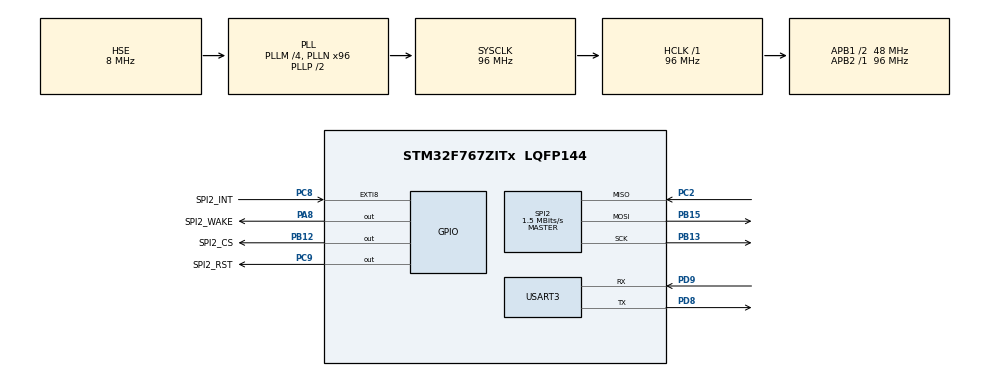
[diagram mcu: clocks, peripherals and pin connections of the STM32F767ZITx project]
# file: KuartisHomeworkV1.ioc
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CORTEX_M7.default_mode_Activation=1
Dma.Request0=SPI2_RX
Dma.Request1=SPI2_TX
Dma.Request2=USART3_TX
Dma.SPI2_RX.0.Direction=DMA_PERIPH_TO_MEMORY
Dma.SPI2_RX.0.FIFOMode=DMA_FIFOMODE_DISABLE
Dma.SPI2_RX.0.Instance=DMA1_Stream1
Dma.SPI2_RX.0.MemDataAlignment=DMA_MDATAALIGN_BYTE
Dma.SPI2_RX.0.MemInc=DMA_MINC_ENABLE
Dma.SPI2_RX.0.Mode=DMA_NORMAL
Dma.SPI2_RX.0.PeriphDataAlignment=DMA_PDATAALIGN_BYTE
Dma.SPI2_RX.0.PeriphInc=DMA_PINC_DISABLE
Dma.SPI2_RX.0.Priority=DMA_PRIORITY_HIGH
Dma.SPI2_TX.1.Direction=DMA_MEMORY_TO_PERIPH
Dma.SPI2_TX.1.FIFOMode=DMA_FIFOMODE_DISABLE
Dma.SPI2_TX.1.Instance=DMA1_Stream4
Dma.SPI2_TX.1.MemDataAlignment=DMA_MDATAALIGN_BYTE
Dma.SPI2_TX.1.MemInc=DMA_MINC_ENABLE
Dma.SPI2_TX.1.Mode=DMA_NORMAL
Dma.SPI2_TX.1.PeriphDataAlignment=DMA_PDATAALIGN_BYTE
Dma.SPI2_TX.1.PeriphInc=DMA_PINC_DISABLE
Dma.SPI2_TX.1.Priority=DMA_PRIORITY_HIGH
Dma.USART3_TX.2.Direction=DMA_MEMORY_TO_PERIPH
Dma.USART3_TX.2.FIFOMode=DMA_FIFOMODE_DISABLE
Dma.USART3_TX.2.Instance=DMA1_Stream3
Dma.USART3_TX.2.MemDataAlignment=DMA_MDATAALIGN_BYTE
Dma.USART3_TX.2.MemInc=DMA_MINC_ENABLE
Dma.USART3_TX.2.Mode=DMA_NORMAL
Dma.USART3_TX.2.PeriphDataAlignment=DMA_PDATAALIGN_BYTE
Dma.USART3_TX.2.PeriphInc=DMA_PINC_DISABLE
Dma.USART3_TX.2.Priority=DMA_PRIORITY_LOW
FREERTOS.Tasks01=Bno085Task,32,512,StartBno085Task,Default,NULL,Dynamic,NULL,NULL;TelemetryTask,24,512,StartTelemetryTask,Default,NULL,Dynamic,NULL,NULL;UartTxTask,24,256,StartUartTxTask,Default,NULL,Dynamic,NULL,NULL
FREERTOS.configCHECK_FOR_STACK_OVERFLOW=2
FREERTOS.configTOTAL_HEAP_SIZE=32768
FREERTOS.configUSE_MALLOC_FAILED_HOOK=1
FREERTOS.configUSE_NEWLIB_REENTRANT=1
Mcu.Family=STM32F7
Mcu.Name=STM32F767ZITx
Mcu.Package=LQFP144
NVIC.DMA1_Stream1_IRQn=true\:6\:0\:true\:false\:true\:true\:false\:true\:true
NVIC.DMA1_Stream3_IRQn=true\:7\:0\:true\:false\:true\:true\:false\:true\:true
NVIC.DMA1_Stream4_IRQn=true\:6\:0\:true\:false\:true\:true\:false\:true\:true
NVIC.EXTI9_5_IRQn=true\:5\:0\:true\:false\:true\:true\:true\:true\:true
NVIC.PriorityGroup=NVIC_PRIORITYGROUP_4
NVIC.SPI2_IRQn=true\:6\:0\:true\:false\:true\:true\:true\:true\:true
NVIC.TIM6_DAC_IRQn=true\:15\:0\:false\:false\:true\:false\:false\:true\:true
NVIC.TimeBase=TIM6_DAC_IRQn
NVIC.TimeBaseIP=TIM6
NVIC.USART3_IRQn=true\:7\:0\:true\:false\:true\:true\:true\:true\:true
PA13.Mode=Serial_Wire
PA13.Signal=SYS_JTMS-SWDIO
PA14.Mode=Serial_Wire
PA14.Signal=SYS_JTCK-SWCLK
PA8.GPIO_Label=SPI2_WAKE
PA8.PinState=GPIO_PIN_SET
PA8.Signal=GPIO_Output
PB12.GPIO_Label=SPI2_CS
PB12.PinState=GPIO_PIN_SET
PB12.Signal=GPIO_Output
PB13.Mode=Full_Duplex_Master
PB13.Signal=SPI2_SCK
PB15.Mode=Full_Duplex_Master
PB15.Signal=SPI2_MOSI
PC2.Mode=Full_Duplex_Master
PC2.Signal=SPI2_MISO
PC8.GPIO_Label=SPI2_INT
PC8.GPIO_ModeDefaultEXTI=GPIO_MODE_IT_FALLING
PC8.Signal=GPXTI8
PC9.GPIO_Label=SPI2_RST
PC9.PinState=GPIO_PIN_SET
PC9.Signal=GPIO_Output
PD8.Mode=Asynchronous
PD8.Signal=USART3_TX
PD9.Mode=Asynchronous
PD9.Signal=USART3_RX
PH0/OSC_IN.Mode=HSE-External-Clock-Source
PH0/OSC_IN.Signal=RCC_OSC_IN
PH1/OSC_OUT.Mode=HSE-External-Clock-Source
PH1/OSC_OUT.Signal=RCC_OSC_OUT
ProjectManager.HeapSize=0x200
ProjectManager.StackSize=0x400
ProjectManager.TargetToolchain=STM32CubeIDE
RCC.48MHZClocksFreq_Value=24000000
RCC.AHBFreq_Value=96000000
RCC.APB1CLKDivider=RCC_HCLK_DIV2
RCC.APB1Freq_Value=48000000
RCC.APB1TimFreq_Value=96000000
RCC.APB2Freq_Value=96000000
RCC.APB2TimFreq_Value=96000000
RCC.CortexFreq_Value=96000000
RCC.HCLKFreq_Value=96000000
RCC.HSE_VALUE=8000000
RCC.HSI_VALUE=16000000
RCC.LSE_VALUE=32768
RCC.PLLM=4
RCC.PLLMUL=RCC_PLL_MUL9
RCC.PLLN=96
RCC.PLLQ=4
RCC.PLLSourceVirtual=RCC_PLLSOURCE_HSE
RCC.PRESCALERUSB=RCC_USBCLKSOURCE_PLL_DIV1_5
RCC.SYSCLKFreq_VALUE=96000000
RCC.SYSCLKSource=RCC_SYSCLKSOURCE_PLLCLK
RCC.SYSCLKSourceVirtual=RCC_SYSCLKSOURCE_PLLCLK
RCC.USBFreq_Value=48000000
RCC.VCOOutputFreq_Value=192000000
SPI2.BaudRatePrescaler=SPI_BAUDRATEPRESCALER_32
SPI2.CLKPhase=SPI_PHASE_2EDGE
SPI2.CLKPolarity=SPI_POLARITY_HIGH
SPI2.CalculateBaudRate=1.5 MBits/s
SPI2.DataSize=SPI_DATASIZE_8BIT
SPI2.Direction=SPI_DIRECTION_2LINES
SPI2.Mode=SPI_MODE_MASTER
SPI2.VirtualType=VM_MASTER
TIM2.ClockDivision=TIM_CLOCKDIVISION_DIV1
TIM2.Prescaler=95
USART3.VirtualMode-Asynchronous=VM_ASYNC
VP_FREERTOS_VS_CMSIS_V2.Mode=CMSIS_V2
VP_SYS_VS_tim6.Mode=TIM6
VP_TIM2_VS_ClockSourceINT.Mode=Internal
board=NUCLEO-F767ZI

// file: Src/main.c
/* USER CODE BEGIN Header */
/**
  ******************************************************************************
  * @file           : main.c
  * @brief          : Main program body
  ******************************************************************************
  * @attention
  *
  * Copyright (c) 2026 STMicroelectronics.
  * All rights reserved.
  *
  * This software is licensed under terms that can be found in the LICENSE file
  * in the root directory of this software component.
  * If no LICENSE file comes with this software, it is provided AS-IS.
  *
  ******************************************************************************
  */
/* USER CODE END Header */
#include "main.h"
#include "cmsis_os.h"
#include "dma.h"
#include "spi.h"
#include "tim.h"
#include "usart.h"
#include "gpio.h"

/* USER CODE BEGIN Includes */
#include "timestamp.h"
/* USER CODE END Includes */

void SystemClock_Config(void);
static void MPU_Config(void);
void MX_FREERTOS_Init(void);

int main(void)
{

  /* MPU Configuration--------------------------------------------------------*/
  MPU_Config();

  /* MCU Configuration--------------------------------------------------------*/

  /* Reset of all peripherals, Initializes the Flash interface and the Systick. */
  HAL_Init();

  /* Configure the system clock */
  SystemClock_Config();

  /* Initialize all configured peripherals */
  MX_GPIO_Init();
  MX_DMA_Init();
  MX_SPI2_Init();
  MX_USART3_UART_Init();
  MX_TIM2_Init();
  /* USER CODE BEGIN 2 */

  if (Timestamp_Init() != TIMESTAMP_STATUS_OK)
  {
      Error_Handler();
  }
  /* USER CODE END 2 */

  /* Init scheduler */
  osKernelInitialize();  /* Call init function for freertos objects (in cmsis_os2.c) */
  MX_FREERTOS_Init();

  /* Start scheduler */
  osKernelStart();

  /* We should never get here as control is now taken by the scheduler */

  /* Infinite loop */
  while (1)
  {

  }
}

void SystemClock_Config(void)
{
  RCC_OscInitTypeDef RCC_OscInitStruct = {0};
  RCC_ClkInitTypeDef RCC_ClkInitStruct = {0};

  /** Configure the main internal regulator output voltage
  */
  __HAL_RCC_PWR_CLK_ENABLE();
  __HAL_PWR_VOLTAGESCALING_CONFIG(PWR_REGULATOR_VOLTAGE_SCALE3);

  /** Initializes the RCC Oscillators according to the specified parameters
  * in the RCC_OscInitTypeDef structure.
  */
  RCC_OscInitStruct.OscillatorType = RCC_OSCILLATORTYPE_HSE;
  RCC_OscInitStruct.HSEState = RCC_HSE_BYPASS;
  RCC_OscInitStruct.PLL.PLLState = RCC_PLL_ON;
  RCC_OscInitStruct.PLL.PLLSource = RCC_PLLSOURCE_HSE;
  RCC_OscInitStruct.PLL.PLLM = 4;
  RCC_OscInitStruct.PLL.PLLN = 96;
  RCC_OscInitStruct.PLL.PLLP = RCC_PLLP_DIV2;
  RCC_OscInitStruct.PLL.PLLQ = 4;
  RCC_OscInitStruct.PLL.PLLR = 2;
  if (HAL_RCC_OscConfig(&RCC_OscInitStruct) != HAL_OK)
  {
    Error_Handler();
  }

  /** Activate the Over-Drive mode
  */
  if (HAL_PWREx_EnableOverDrive() != HAL_OK)
  {
    Error_Handler();
  }

  /** Initializes the CPU, AHB and APB buses clocks
  */
  RCC_ClkInitStruct.ClockType = RCC_CLOCKTYPE_HCLK|RCC_CLOCKTYPE_SYSCLK
                              |RCC_CLOCKTYPE_PCLK1|RCC_CLOCKTYPE_PCLK2;
  RCC_ClkInitStruct.SYSCLKSource = RCC_SYSCLKSOURCE_PLLCLK;
  RCC_ClkInitStruct.AHBCLKDivider = RCC_SYSCLK_DIV1;
  RCC_ClkInitStruct.APB1CLKDivider = RCC_HCLK_DIV2;
  RCC_ClkInitStruct.APB2CLKDivider = RCC_HCLK_DIV1;

  if (HAL_RCC_ClockConfig(&RCC_ClkInitStruct, FLASH_LATENCY_3) != HAL_OK)
  {
    Error_Handler();
  }
}

 /* MPU Configuration */

void MPU_Config(void)
{
  MPU_Region_InitTypeDef MPU_InitStruct = {0};

  /* Disables the MPU */
  HAL_MPU_Disable();

  /** Initializes and configures the Region and the memory to be protected
  */
  MPU_InitStruct.Enable = MPU_REGION_ENABLE;
  MPU_InitStruct.Number = MPU_REGION_NUMBER0;
  MPU_InitStruct.BaseAddress = 0x0;
  MPU_InitStruct.Size = MPU_REGION_SIZE_4GB;
  MPU_InitStruct.SubRegionDisable = 0x87;
  MPU_InitStruct.TypeExtField = MPU_TEX_LEVEL0;
  MPU_InitStruct.AccessPermission = MPU_REGION_NO_ACCESS;
  MPU_InitStruct.DisableExec = MPU_INSTRUCTION_ACCESS_DISABLE;
  MPU_InitStruct.IsShareable = MPU_ACCESS_SHAREABLE;
  MPU_InitStruct.IsCacheable = MPU_ACCESS_NOT_CACHEABLE;
  MPU_InitStruct.IsBufferable = MPU_ACCESS_NOT_BUFFERABLE;

  HAL_MPU_ConfigRegion(&MPU_InitStruct);
  /* Enables the MPU */
  HAL_MPU_Enable(MPU_PRIVILEGED_DEFAULT);

}

void HAL_TIM_PeriodElapsedCallback(TIM_HandleTypeDef *htim)
{
  if (htim->Instance == TIM6)
  {
    HAL_IncTick();
  }
}

void Error_Handler(void)
{
  __disable_irq();
  while (1)
  {
  }
}

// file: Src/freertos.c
/* USER CODE BEGIN Header */
/**
  ******************************************************************************
  * File Name          : freertos.c
  * Description        : Code for freertos applications
  ******************************************************************************
  * @attention
  *
  * Copyright (c) 2026 STMicroelectronics.
  * All rights reserved.
  *
  * This software is licensed under terms that can be found in the LICENSE file
  * in the root directory of this software component.
  * If no LICENSE file comes with this software, it is provided AS-IS.
  *
  ******************************************************************************
  */
/* USER CODE END Header */

#include "FreeRTOS.h"
#include "task.h"
#include "main.h"
#include "cmsis_os.h"

/* USER CODE BEGIN Includes */
#include "app_types.h"
#include "queue.h"
#include "timestamp.h"
#include "bno085.h"
#include "orientation_math.h"
#include "nmea.h"
#include "telemetry_protocol.h"
#include "debug_port.h"
#include "performance_monitor.h"
/* USER CODE END Includes */

/* USER CODE BEGIN Variables */
QueueHandle_t orientationQueueHandle = NULL;
QueueHandle_t txQueueHandle = NULL;
static volatile uint8_t bno085TaskNotificationEnabled = 0U;

static TxRingBuffer_t uartTxRingBuffer = {0};

static uint32_t uartTxRingFullCount = 0U;
static uint32_t uartTxDmaErrorCount = 0U;

static uint32_t txQueueDropCount = 0U;

static uint32_t nmeaFormatErrorCount = 0U;
static uint32_t quaternionFormatErrorCount = 0U;

static uint32_t staleSampleCount = 0U;

/* USER CODE END Variables */
/* Definitions for Bno085Task */
osThreadId_t Bno085TaskHandle;
const osThreadAttr_t Bno085Task_attributes = {
  .name = "Bno085Task",
  .stack_size = 512 * 4,
  .priority = (osPriority_t) osPriorityAboveNormal,
};
/* Definitions for TelemetryTask */
osThreadId_t TelemetryTaskHandle;
const osThreadAttr_t TelemetryTask_attributes = {
  .name = "TelemetryTask",
  .stack_size = 512 * 4,
  .priority = (osPriority_t) osPriorityNormal,
};
/* Definitions for UartTxTask */
osThreadId_t UartTxTaskHandle;
const osThreadAttr_t UartTxTask_attributes = {
  .name = "UartTxTask",
  .stack_size = 256 * 4,
  .priority = (osPriority_t) osPriorityNormal,
};

void StartBno085Task(void *argument);
void StartTelemetryTask(void *argument);
void StartUartTxTask(void *argument);

void MX_FREERTOS_Init(void); /* (MISRA C 2004 rule 8.1) */

/* Hook prototypes */
void vApplicationStackOverflowHook(xTaskHandle xTask, signed char *pcTaskName);
void vApplicationMallocFailedHook(void);

/* USER CODE BEGIN 4 */
void vApplicationStackOverflowHook(xTaskHandle xTask, signed char *pcTaskName)
{
   /* Run time stack overflow checking is performed if
   configCHECK_FOR_STACK_OVERFLOW is defined to 1 or 2. This hook function is
   called if a stack overflow is detected. */
}
/* USER CODE END 4 */

/* USER CODE BEGIN 5 */
void vApplicationMallocFailedHook(void)
{
   /* vApplicationMallocFailedHook() will only be called if
   configUSE_MALLOC_FAILED_HOOK is set to 1 in FreeRTOSConfig.h. It is a hook
   function that will get called if a call to pvPortMalloc() fails.
   pvPortMalloc() is called internally by the kernel whenever a task, queue,
   timer or semaphore is created. It is also called by various parts of the
   demo application. If heap_1.c or heap_2.c are used, then the size of the
   heap available to pvPortMalloc() is defined by configTOTAL_HEAP_SIZE in
   FreeRTOSConfig.h, and the xPortGetFreeHeapSize() API function can be used
   to query the size of free heap space that remains (although it does not
   provide information on how the remaining heap might be fragmented). */
}
/* USER CODE END 5 */

void MX_FREERTOS_Init(void) {

  /* USER CODE BEGIN RTOS_QUEUES */
  /* add queues, ... */
	orientationQueueHandle = xQueueCreate(1U,sizeof(OrientationSample_t));
	txQueueHandle = xQueueCreate(8U,sizeof(UartMessage_t));

	if((orientationQueueHandle == NULL) || (txQueueHandle == NULL) )
	{
		Error_Handler();
	}
  /* USER CODE END RTOS_QUEUES */

  /* Create the thread(s) */
  /* creation of Bno085Task */
  Bno085TaskHandle = osThreadNew(StartBno085Task, NULL, &Bno085Task_attributes);

  /* creation of TelemetryTask */
  TelemetryTaskHandle = osThreadNew(StartTelemetryTask, NULL, &TelemetryTask_attributes);

  /* creation of UartTxTask */
  UartTxTaskHandle = osThreadNew(StartUartTxTask, NULL, &UartTxTask_attributes);

}

void StartBno085Task(void *argument)
{
  /* USER CODE BEGIN StartBno085Task */

  BNO085_Status_t status;

  BNO085_Quaternion_t quaternion;

  OrientationSample_t sample = {0};

  uint32_t sequence = 0U;
  float heading_deg;

  /*
   * Do not send task notifications while the sensor
   * is being initialized.
   */
  bno085TaskNotificationEnabled = 0U;

  /*
   * Sensor initialization.
   *
   * If the sensor is not available, retry every second.
   */
  for (;;)
  {
    status = BN085_Init();

    if (status == BNO085_STATUS_OK)
    {
      break;
    }

    vTaskDelay(pdMS_TO_TICKS(1000U));
  }

  /*
   * Request Rotation Vector reports at 100 Hz.
   *
   * This only queues the SHTP command inside the driver.
   * BNO085_Process() will actually start the SPI transfer.
   */
  status = BNO085_EnableRotationVector(
      BNO085_ROTATION_VECTOR_INTERVAL_US
  );

  if (status != BNO085_STATUS_OK)
  {
    /* Error handling will be improved later. */
    Error_Handler();
  }

  /*
   * Clear any notifications that may have accumulated
   * during initialization.
   */
  (void)ulTaskNotifyTake(pdTRUE, 0U);

  /*
   * ISR -> task notification mechanism is now active.
   */
  bno085TaskNotificationEnabled = 1U;

  /*
   * Kick the state machine once.
   *
   * EnableRotationVector() only sets tx_pending.
   * This call starts the actual command transmission
   * or starts the WAKE/ready procedure.
   */
  BNO085_Process();

  for (;;)
  {
    /*
     * Normally the task wakes up because:
     *
     * - BNO085 INT falling edge
     * - SPI RX DMA complete
     * - SPI TX DMA complete
     *
     * 20 ms timeout is only a recovery/safety mechanism.
     *
     * Sensor period = 10 ms (100 Hz)
     */
    (void)ulTaskNotifyTake(
        pdTRUE,
        pdMS_TO_TICKS(20U)
    );

    /*
     * Service the state machine.
     *
     * Two calls are intentional.
     *
     * Example:
     *
     * Call #1:
     *   DMA header completed
     *   -> parse header
     *   -> state = WAIT_PACKET
     *
     * Call #2:
     *   -> start packet DMA immediately
     *
     * This avoids waiting another 10/20 ms for a state
     * transition that can already be performed.
     */
    BNO085_Process();
    BNO085_Process();

    /*
     * If a complete Rotation Vector report has been parsed,
     * obtain the latest quaternion.
     */
    status = BNO085_GetQuaternion(&quaternion);

    if (status == BNO085_STATUS_OK)
    {

    if (Orientation_QuaternionToHeadingDeg(
   	        quaternion.x,
   	        quaternion.y,
   	        quaternion.z,
   	        quaternion.w,
   	        &heading_deg) != ORIENTATION_STATUS_OK)
   	{
    	continue;
    }

      /*
       * All fields belong to the same BNO085 sample.
       */
      sample.qx = quaternion.x;
      sample.qy = quaternion.y;
      sample.qz = quaternion.z;
      sample.qw = quaternion.w;

      sample.heading_deg = heading_deg;

      sample.timestamp_us = Timestamp_GetUs();
      sample.sequence = sequence++;
      sample.accuracy = (uint8_t)quaternion.accuracy;

      /*
       * Queue length = 1.
       *
       * We always want the most recent orientation.
       */
      (void)xQueueOverwrite(
          orientationQueueHandle,
          &sample
      );
    }
  }

  /* USER CODE END StartBno085Task */
}
void StartTelemetryTask(void *argument)
{
  /* USER CODE BEGIN StartTelemetryTask */

  OrientationSample_t sample;
  UartMessage_t nmea_message;
  UartMessage_t quaternion_message;

  TickType_t last_wake_time;
  const TickType_t period_ticks = pdMS_TO_TICKS(100U);

  uint32_t last_sequence = 0U;
  uint8_t first_sample_received = 0U;

  PerformanceStats_t performance_stats;
  uint32_t telemetry_timestamp_us;
  uint32_t sample_age_us;

  UBaseType_t bno_stack_min;
  UBaseType_t telemetry_stack_min;
  UBaseType_t uart_stack_min;

  size_t free_heap;
  size_t min_ever_free_heap;

  last_wake_time = xTaskGetTickCount();

  PerformanceMonitor_Init();
  for (;;)
  {
    /*
     * Run at a fixed 10 Hz rate.
     *
     * 100 ms period = 10 Hz
     */
    vTaskDelayUntil(
        &last_wake_time,
        period_ticks
    );

    /*
     * orientationQueue length = 1.
     *
     * Peek instead of Receive because we want to keep
     * the latest sample available in the queue.
     */
    if (xQueuePeek(
            orientationQueueHandle,
            &sample,
            0U) != pdPASS)
    {
      /*
       * No orientation sample has been received yet.
       */
      continue;
    }

    telemetry_timestamp_us = Timestamp_GetUs();

    PerformanceMonitor_Update(telemetry_timestamp_us);

    sample_age_us =
        telemetry_timestamp_us - sample.timestamp_us;

    PerformanceMonitor_UpdateSampleAge(sample_age_us);

    if (NMEA_FormatHCHDM(
            sample.heading_deg,
            nmea_message.data,
            UART_MESSAGE_MAX_LENGTH,
            &nmea_message.length) == NMEA_STATUS_OK)
    {
        if (xQueueSend(
                txQueueHandle,
                &nmea_message,
                0U) != pdPASS)
        {
            txQueueDropCount++;
        }
    }
    else
    {
        nmeaFormatErrorCount++;
    }

    if (Telemetry_FormatQuaternion(
            &sample,
            quaternion_message.data,
            UART_MESSAGE_MAX_LENGTH,
            &quaternion_message.length) == TELEMETRY_STATUS_OK)
    {
        if (xQueueSend(
                txQueueHandle,
                &quaternion_message,
                0U) != pdPASS)
        {
            txQueueDropCount++;
        }
    }
    else
    {
        quaternionFormatErrorCount++;
    }
    /*
     * Detect whether the BNO085 produced a new sample
     * since the previous telemetry cycle.
     */
    if (first_sample_received == 0U)
    {
      first_sample_received = 1U;
      last_sequence = sample.sequence;
    }
    else
    {
    	if (sample.sequence == last_sequence)
    	{
    	    staleSampleCount++;
    	}
    	else
    	{
    	    last_sequence = sample.sequence;
    	}
    }

    /*
     * Next step:
     *
     * 1) Generate $HCHDM NMEA sentence
     * 2) Generate quaternion telemetry packet
     * 3) Send both to txQueue
     */

    PerformanceMonitor_GetStats(
        &performance_stats
    );

    bno_stack_min =
        uxTaskGetStackHighWaterMark(
            (TaskHandle_t)Bno085TaskHandle
        );

    telemetry_stack_min =
        uxTaskGetStackHighWaterMark(
            (TaskHandle_t)TelemetryTaskHandle
        );

    uart_stack_min =
        uxTaskGetStackHighWaterMark(
            (TaskHandle_t)UartTxTaskHandle
        );

    free_heap = xPortGetFreeHeapSize();

    min_ever_free_heap =
        xPortGetMinimumEverFreeHeapSize();
  }

  /* USER CODE END StartTelemetryTask */
}

void StartUartTxTask(void *argument)
{
  /* USER CODE BEGIN StartUartTxTask */

  UartMessage_t tx_message;

  BufferStatus_t buffer_status;
  DebugStatus_t debug_status;

  for (;;)
  {
    /*
     * No polling.
     *
     * Sleep until TelemetryTask puts a message
     * into txQueue.
     */
    if (xQueueReceive(
            txQueueHandle,
            &tx_message,
            portMAX_DELAY) != pdPASS)
    {
      continue;
    }

    /*
     * Basic message validation.
     */
    if ((tx_message.length == 0U) ||
        (tx_message.length > UART_MESSAGE_MAX_LENGTH))
    {
      continue;
    }

    /*
     * Only UartTxTask writes to the TX ring buffer.
     *
     * This avoids multiple-producer race conditions
     * and removes the need for a mutex.
     */
    buffer_status = RingBufferWrite(
        &uartTxRingBuffer,
        tx_message.data,
        tx_message.length
    );

    if (buffer_status != BUFFER_STATUS_OK)
    {
      /*
       * Ring buffer did not have enough free space.
       *
       * For now drop the complete message.
       * Diagnostics will expose this counter later.
       */
      uartTxRingFullCount++;

      continue;
    }

    /*
     * Start DMA if it is currently idle.
     *
     * If DMA is already BUSY, this is not an error:
     * HAL_UART_TxCpltCallback() will automatically
     * continue transmitting the data that we just
     * appended to the ring buffer.
     */
    debug_status = DebugSend_DMA(
        &uartTxRingBuffer
    );

    if (debug_status == DEBUG_STATUS_ERROR)
    {
      uartTxDmaErrorCount++;
    }

    /*
     * DEBUG_STATUS_BUSY is normal here.
     *
     * It means an existing DMA transfer is already
     * consuming the ring buffer.
     */
  }

  /* USER CODE END StartUartTxTask */
}

/* USER CODE BEGIN Application */
void BNO085_EventCallbackFromISR(void)
{
    BaseType_t xHigherPriorityTaskWoken = pdFALSE;

    if ((bno085TaskNotificationEnabled != 0U) &&
        (Bno085TaskHandle != NULL))
    {
        vTaskNotifyGiveFromISR((TaskHandle_t)Bno085TaskHandle, &xHigherPriorityTaskWoken);

        portYIELD_FROM_ISR(xHigherPriorityTaskWoken);
    }
}
/* USER CODE END Application */
